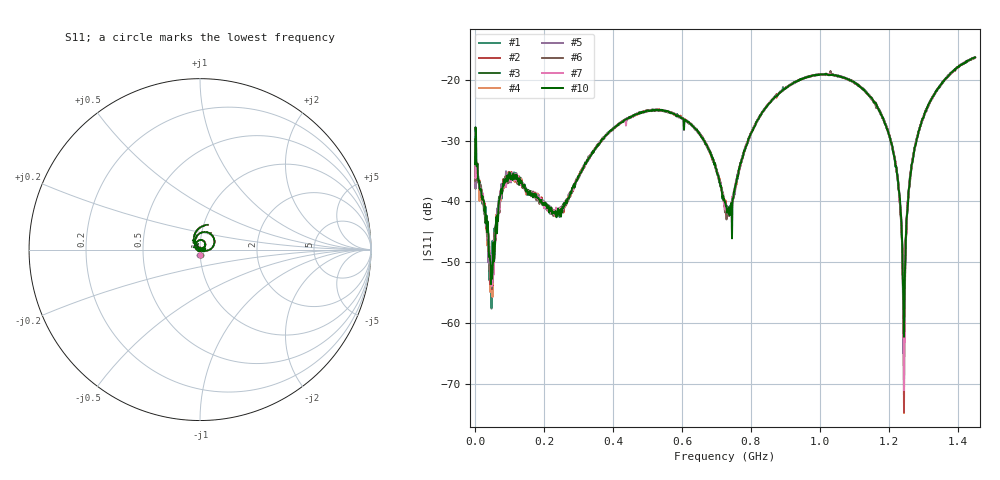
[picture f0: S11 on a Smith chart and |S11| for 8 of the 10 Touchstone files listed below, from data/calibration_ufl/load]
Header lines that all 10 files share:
! Created with skrf 1.11.0 (http://scikit-rf.org).
# Hz S RI R 50.0
!freq ReS11 ImS11
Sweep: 50 kHz to 1.45 GHz
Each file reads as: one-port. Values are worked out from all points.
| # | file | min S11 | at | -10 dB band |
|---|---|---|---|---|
| 1 | test_1.s1p | -65.1 dB | 1.243 GHz | over 1.45 GHz wide |
| 2 | test_2.s1p | -74.8 dB | 1.244 GHz | over 1.45 GHz wide |
| 3 | test_3.s1p | -63.9 dB | 1.244 GHz | over 1.45 GHz wide |
| 4 | test_4.s1p | -65.3 dB | 1.244 GHz | over 1.45 GHz wide |
| 5 | test_5.s1p | -70.6 dB | 1.244 GHz | over 1.45 GHz wide |
| 6 | test_6.s1p | -61.9 dB | 1.243 GHz | over 1.45 GHz wide |
| 7 | test_7.s1p | -71.1 dB | 1.244 GHz | over 1.45 GHz wide |
| 8 | test_8.s1p | -65.8 dB | 1.244 GHz | over 1.45 GHz wide |
| 9 | test_9.s1p | -65.8 dB | 1.244 GHz | over 1.45 GHz wide |
| 10 | test_10.s1p | -62.3 dB | 1.244 GHz | over 1.45 GHz wide |
